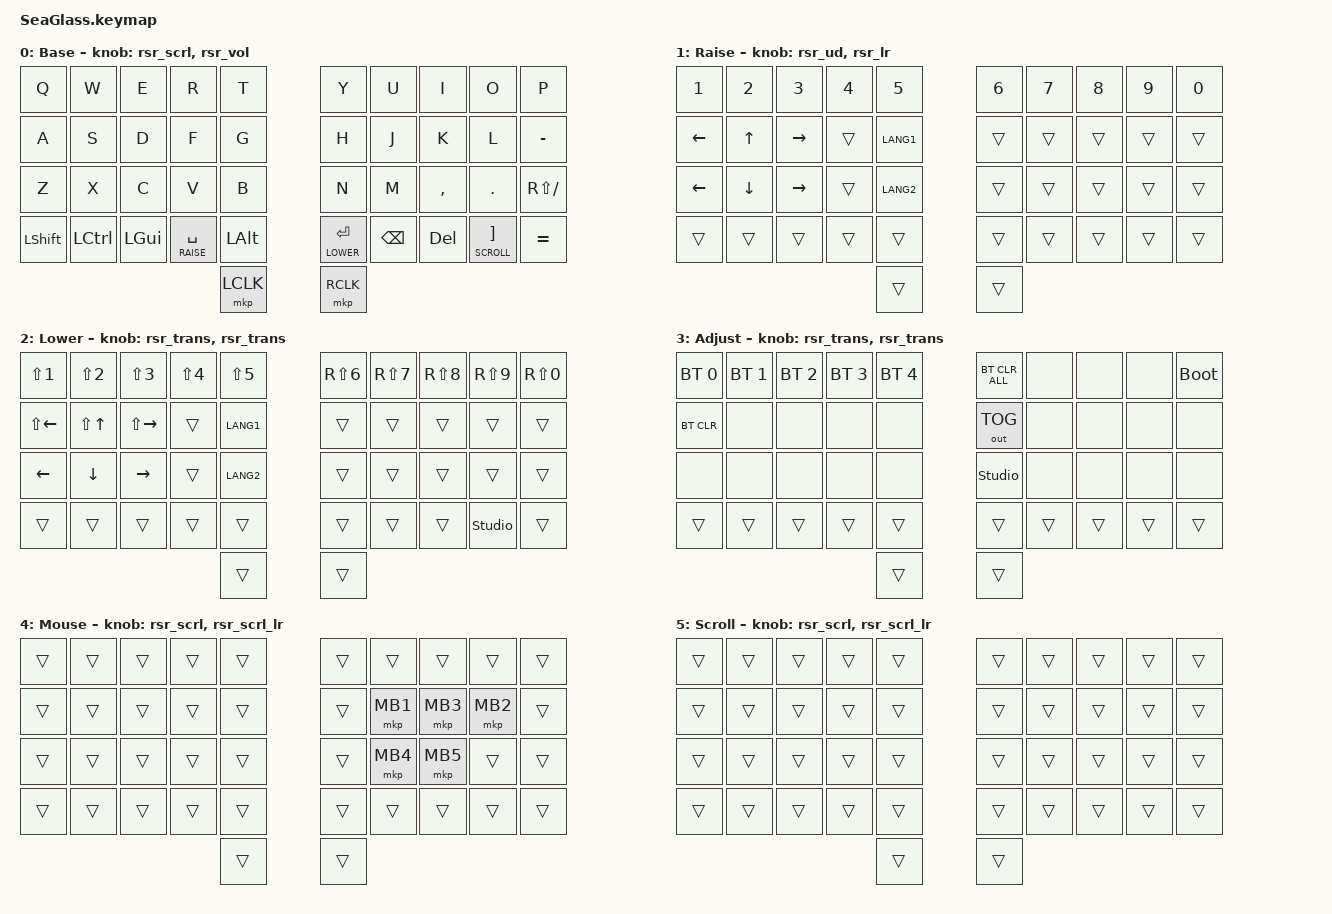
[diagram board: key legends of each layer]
#include <behaviors.dtsi>
#include <dt-bindings/zmk/bt.h>
#include <dt-bindings/zmk/keys.h>
#include <dt-bindings/zmk/outputs.h>
#include <dt-bindings/zmk/pointing.h>
#include <behaviors/runtime-sensor-rotate.dtsi>

#define ZMK_POINTING_DEFAULT_SCRL_VAL 120

#define BASE   0
#define RAISE  1
#define LOWER  2
#define ADJUST 3
#define MOUSE  4
#define SCROLL 5

&mt {
    flavor = "balanced";
    quick-tap-ms = <300>;
};

&lt {
    flavor = "balanced";
    quick-tap-ms = <300>;
};

/ {
    behaviors {
        // ロータリーエンコーダー（DYA Studioから変更可。以下は初期値）
        rsr_scrl: rsr_scrl {
            compatible = "zmk,behavior-runtime-sensor-rotate";
            #sensor-binding-cells = <0>;
            tap-ms = <20>;
            cw-binding = <&msc SCRL_DOWN>;
            ccw-binding = <&msc SCRL_UP>;
        };
        rsr_scrl_lr: rsr_scrl_lr {
            compatible = "zmk,behavior-runtime-sensor-rotate";
            #sensor-binding-cells = <0>;
            tap-ms = <20>;
            cw-binding = <&msc SCRL_RIGHT>;
            ccw-binding = <&msc SCRL_LEFT>;
        };
        rsr_vol: rsr_vol {
            compatible = "zmk,behavior-runtime-sensor-rotate";
            #sensor-binding-cells = <0>;
            tap-ms = <5>;
            cw-binding = <&kp C_VOL_UP>;
            ccw-binding = <&kp C_VOL_DN>;
        };
        rsr_ud: rsr_ud {
            compatible = "zmk,behavior-runtime-sensor-rotate";
            #sensor-binding-cells = <0>;
            tap-ms = <5>;
            cw-binding = <&kp DOWN>;
            ccw-binding = <&kp UP>;
        };
        rsr_lr: rsr_lr {
            compatible = "zmk,behavior-runtime-sensor-rotate";
            #sensor-binding-cells = <0>;
            tap-ms = <5>;
            cw-binding = <&kp RIGHT>;
            ccw-binding = <&kp LEFT>;
        };
    };

    combos {
        compatible = "zmk,combos";

        middle_click {
            bindings = <&mkp MB3>;
            key-positions = <40 41>;
        };

        combo_eisu {
            timeout-ms = <50>;
            key-positions = <12 13>;
            bindings = <&kp LANG2>;
        };

        combo_kana {
            timeout-ms = <50>;
            key-positions = <10 11>;
            bindings = <&kp LANG1>;
        };

        combo_esc {
            timeout-ms = <50>;
            key-positions = <0 1>;
            bindings = <&kp ESC>;
        };

        combo_tab {
            timeout-ms = <50>;
            key-positions = <4 3>;
            bindings = <&kp TAB>;
        };
    };

    conditional_layers {
        compatible = "zmk,conditional-layers";
        tri_layer {
            if-layers = <RAISE LOWER>;
            then-layer = <ADJUST>;
        };
    };

    keymap {
        compatible = "zmk,keymap";

        default_layer {
            display-name = "Base";
            bindings = <
&kp Q      &kp W      &kp E     &kp R            &kp T     &kp Y          &kp U     &kp I      &kp O            &kp P
&kp A      &kp S      &kp D     &kp F            &kp G     &kp H          &kp J     &kp K      &kp L            &kp MINUS
&kp Z      &kp X      &kp C     &kp V            &kp B     &kp N          &kp M     &kp COMMA  &kp DOT          &kp RS(FSLH)
&kp LSHFT  &kp LCTRL  &kp LGUI  &lt RAISE SPACE  &kp LALT  &lt LOWER RET  &kp BSPC  &kp DEL    &lt SCROLL RBKT  &kp EQUAL
&mkp LCLK  &mkp RCLK
            >;
            sensor-bindings = <&rsr_scrl>, <&rsr_vol>;
        };

        raise_layer {
            display-name = "Raise";
            bindings = <
&kp N1    &kp N2    &kp N3     &kp N4  &kp N5     &kp N6  &kp N7  &kp N8  &kp N9  &kp N0
&kp LEFT  &kp UP    &kp RIGHT  &trans  &kp LANG1  &trans  &trans  &trans  &trans  &trans
&kp LEFT  &kp DOWN  &kp RIGHT  &trans  &kp LANG2  &trans  &trans  &trans  &trans  &trans
&trans    &trans    &trans     &trans  &trans     &trans  &trans  &trans  &trans  &trans
&trans    &trans
            >;
            sensor-bindings = <&rsr_ud>, <&rsr_lr>;
        };

        lower_layer {
            display-name = "Lower";
            bindings = <
&kp LS(N1)    &kp LS(N2)  &kp LS(N3)     &kp LS(N4)  &kp LS(N5)  &kp RS(N6)  &kp RS(N7)  &kp RS(N8)  &kp RS(N9)      &kp RS(N0)
&kp LS(LEFT)  &kp LS(UP)  &kp LS(RIGHT)  &trans      &kp LANG1   &trans      &trans      &trans      &trans          &trans
&kp LEFT      &kp DOWN    &kp RIGHT      &trans      &kp LANG2   &trans      &trans      &trans      &trans          &trans
&trans        &trans      &trans         &trans      &trans      &trans      &trans      &trans      &studio_unlock  &trans
&trans        &trans
            >;
            sensor-bindings = <&rsr_trans>, <&rsr_trans>;
        };

        adjust_layer {
            display-name = "Adjust";
            bindings = <
&bt BT_SEL 0  &bt BT_SEL 1  &bt BT_SEL 2  &bt BT_SEL 3  &bt BT_SEL 4  &bt BT_CLR_ALL  &none  &none  &none  &bootloader
&bt BT_CLR    &none         &none         &none         &none         &out OUT_TOG    &none  &none  &none  &none
&none         &none         &none         &none         &none         &studio_unlock  &none  &none  &none  &none
&trans        &trans        &trans        &trans        &trans        &trans          &trans &trans &trans &trans
&trans        &trans
            >;
            sensor-bindings = <&rsr_trans>, <&rsr_trans>;
        };

        mouse_layer {
            display-name = "Mouse";
            bindings = <
&trans  &trans  &trans  &trans  &trans  &trans  &trans    &trans    &trans    &trans
&trans  &trans  &trans  &trans  &trans  &trans  &mkp MB1  &mkp MB3  &mkp MB2  &trans
&trans  &trans  &trans  &trans  &trans  &trans  &mkp MB4  &mkp MB5  &trans    &trans
&trans  &trans  &trans  &trans  &trans  &trans  &trans    &trans    &trans    &trans
&trans  &trans
            >;
            sensor-bindings = <&rsr_scrl>, <&rsr_scrl_lr>;
        };

        scroll_layer {
            display-name = "Scroll";
            bindings = <
&trans  &trans  &trans  &trans  &trans  &trans  &trans  &trans  &trans  &trans
&trans  &trans  &trans  &trans  &trans  &trans  &trans  &trans  &trans  &trans
&trans  &trans  &trans  &trans  &trans  &trans  &trans  &trans  &trans  &trans
&trans  &trans  &trans  &trans  &trans  &trans  &trans  &trans  &trans  &trans
&trans  &trans
            >;
            sensor-bindings = <&rsr_scrl>, <&rsr_scrl_lr>;
        };
    };
};
